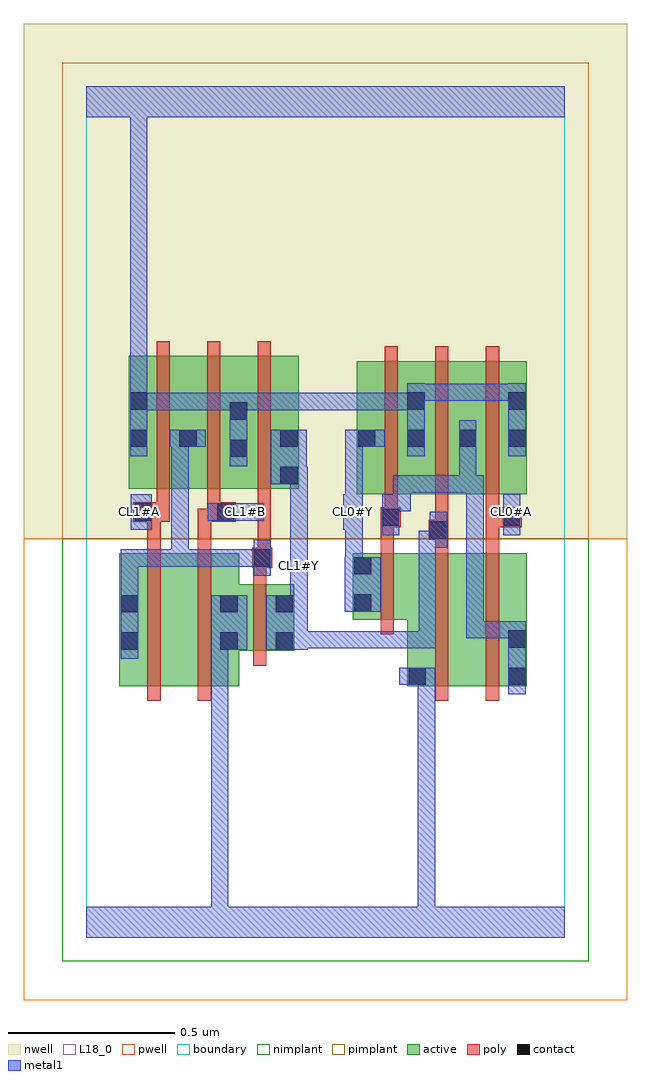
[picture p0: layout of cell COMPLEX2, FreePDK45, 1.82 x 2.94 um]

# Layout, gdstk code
import gdstk
lib = gdstk.Library(unit=1e-6, precision=1e-09)
def R(c, l, rs):  # rectangles x0, y0, x1, y1
    for r in rs: c.add(gdstk.rectangle(r[:2], r[2:], *l))
def A(c, l, x, y, w, h, nx, ny, dx, dy):  # array of equal rectangles
    R(c, l, [(x+i*dx, y+j*dy, x+i*dx+w, y+j*dy+h) for i in range(nx) for j in range(ny)])
active = (1, 0)
pwell = (2, 0)
nwell = (3, 0)
nimplant = (4, 0)
pimplant = (5, 0)
poly = (9, 0)
contact = (10, 0)
metal1 = (11, 0)
L18_0 = (18, 0)
boundary = (235, 0)

complex2 = lib.new_cell('COMPLEX2')
A(complex2, active, 0.276, 1.35, 0.06, 0.294, 3, 1, 0.152, 0)
R(complex2, active, [(0.1,0.756,0.16,1.156), (0.1,0.756,0.28,1.156), (0.28,0.756,0.46,1.156), (0.4,0.756,0.46,1.062), (0.966,0.756,1.146,1.156), (0.966,0.756,1.026,0.956), (1.146,0.756,1.326,1.156), (1.266,0.756,1.326,1.156), (0.4,0.862,0.626,1.062), (0.566,0.862,0.626,1.062), (0.802,0.956,0.862,1.156), (0.802,0.956,1.026,1.156), (0.814,1.334,0.874,1.644), (0.814,1.334,1.022,1.734), (0.962,1.334,1.022,1.644), (0.962,1.334,1.178,1.734), (1.118,1.334,1.178,1.644), (1.118,1.334,1.326,1.734), (1.266,1.334,1.326,1.644), (0.128,1.35,0.336,1.75), (0.128,1.35,0.188,1.644), (0.276,1.35,0.488,1.75), (0.428,1.35,0.64,1.75)])
R(complex2, pwell, [(-0.188,-0.188,1.628,1.2)])
R(complex2, nwell, [(-0.188,1.2,1.628,2.748)])
R(complex2, nimplant, [(-0.072,-0.072,1.512,1.2)])
R(complex2, pimplant, [(-0.072,1.2,1.512,2.632)])
A(complex2, poly, 0.898, 1.29, 0.04, 0.488, 3, 1, 0.152, 0)
A(complex2, poly, 0.212, 1.306, 0.04, 0.488, 3, 1, 0.152, 0)
R(complex2, poly, [(0.184,0.712,0.224,1.2), (0.336,0.712,0.376,1.2), (1.05,0.712,1.09,1.2), (1.202,0.712,1.242,1.2), (0.502,0.818,0.542,1.106), (0.886,0.912,0.926,1.2), (0.502,1.066,0.542,1.152), (0.5,1.112,0.56,1.172), (0.516,1.132,0.556,1.172), (0.516,1.132,0.556,1.172), (0.516,1.132,0.556,1.346), (0.184,1.16,0.224,1.29), (0.336,1.16,0.376,1.29), (0.886,1.16,0.926,1.274), (1.05,1.16,1.09,1.236), (1.202,1.16,1.242,1.274), (1.03,1.196,1.09,1.256), (1.05,1.216,1.09,1.256), (1.05,1.216,1.09,1.256), (1.05,1.216,1.09,1.33), (0.886,1.234,0.926,1.274), (0.886,1.234,0.926,1.274), (0.886,1.234,0.946,1.294), (1.202,1.234,1.242,1.274), (1.202,1.234,1.242,1.274), (1.202,1.234,1.31,1.294), (0.142,1.25,0.252,1.31), (0.184,1.25,0.224,1.29), (0.184,1.25,0.224,1.29), (0.336,1.25,0.404,1.29), (0.364,1.25,0.404,1.29), (0.364,1.25,0.45,1.31), (0.898,1.254,0.938,1.33), (1.202,1.254,1.242,1.33), (0.212,1.27,0.252,1.346), (0.364,1.27,0.404,1.346)])
R(complex2, contact, [(0.97,0.76,1.022,0.812), (1.27,0.76,1.322,0.812), (0.104,0.866,0.156,0.918), (0.404,0.866,0.456,0.918), (0.57,0.866,0.622,0.918), (1.27,0.872,1.322,0.924), (0.104,0.978,0.156,1.03), (0.404,0.978,0.456,1.03), (0.57,0.978,0.622,1.03), (0.806,0.98,0.858,1.032), (0.806,1.092,0.858,1.144), (0.504,1.116,0.556,1.168), (1.034,1.2,1.086,1.252), (0.89,1.238,0.942,1.29), (1.254,1.238,1.306,1.29), (0.146,1.254,0.198,1.306), (0.394,1.254,0.446,1.306), (0.584,1.364,0.636,1.416), (0.432,1.446,0.484,1.498), (0.132,1.476,0.184,1.528), (0.28,1.476,0.332,1.528), (0.584,1.476,0.636,1.528), (0.818,1.476,0.87,1.528), (0.966,1.476,1.018,1.528), (1.122,1.476,1.174,1.528), (1.27,1.476,1.322,1.528), (0.432,1.558,0.484,1.61), (0.132,1.588,0.184,1.64), (0.966,1.588,1.018,1.64), (1.27,1.588,1.322,1.64)])
R(complex2, metal1, [(0,0,1.44,0.092), (0.376,0.04,0.428,0.092), (0.376,0.04,0.428,0.092), (0.376,0.04,0.428,0.092), (0.376,0.04,0.428,0.092), (0.376,0.04,0.428,0.092), (0.376,0.04,0.428,0.092), (0.376,0.04,0.428,0.918), (0.998,0.04,1.05,0.092), (0.998,0.04,1.05,0.092), (0.998,0.04,1.05,0.092), (0.998,0.04,1.05,0.092), (0.998,0.04,1.05,0.092), (0.998,0.04,1.05,0.092), (0.998,0.04,1.05,0.812), (1.27,0.732,1.322,0.952), (0.942,0.76,1.05,0.812), (0.998,0.76,1.05,0.812), (0.998,0.76,1.05,0.812), (0.998,0.76,1.05,0.812), (0.998,0.76,1.05,0.812), (0.998,0.76,1.05,0.812), (0.998,0.76,1.05,0.812), (0.104,0.838,0.156,1.058), (0.376,0.866,0.428,0.918), (0.376,0.866,0.428,0.918), (0.376,0.866,0.428,0.918), (0.376,0.866,0.428,0.918), (0.376,0.866,0.428,0.918), (0.376,0.866,0.428,0.918), (0.376,0.866,0.484,1.03), (0.542,0.866,0.666,1.03), (0.614,0.866,0.666,0.922), (0.614,0.87,0.666,0.922), (0.614,0.87,0.776,0.922), (0.724,0.87,0.776,0.922), (0.724,0.87,0.776,0.922), (0.724,0.87,0.776,0.922), (0.724,0.87,1.052,0.922), (1,0.87,1.052,0.922), (1,0.87,1.052,0.922), (1,0.87,1.052,0.922), (1,0.87,1.052,1.224), (1.144,0.9,1.196,0.952), (1.144,0.9,1.322,0.952), (1.144,0.9,1.196,1.39), (1.27,0.9,1.322,0.952), (1.27,0.9,1.322,0.952), (1.27,0.9,1.322,0.952), (1.27,0.9,1.322,0.952), (0.614,0.978,0.666,1.118), (0.778,0.98,0.886,1.144), (0.104,1.006,0.156,1.168), (0.614,1.066,0.666,1.174), (0.504,1.088,0.556,1.196), (0.78,1.092,0.832,1.278), (0.104,1.116,0.156,1.168), (0.104,1.116,0.156,1.168), (0.104,1.116,0.156,1.168), (0.104,1.116,0.308,1.168), (0.256,1.116,0.308,1.168), (0.256,1.116,0.308,1.168), (0.256,1.116,0.308,1.168), (0.256,1.116,0.308,1.168), (0.256,1.116,0.308,1.168), (0.256,1.116,0.484,1.168), (0.256,1.116,0.308,1.528), (0.432,1.116,0.484,1.168), (0.432,1.116,0.556,1.168), (0.614,1.122,0.666,1.416), (1,1.172,1.052,1.224), (1,1.172,1.086,1.224), (1.034,1.172,1.086,1.28), (0.89,1.21,0.942,1.334), (1.254,1.21,1.306,1.334), (0.134,1.226,0.198,1.334), (0.774,1.226,0.832,1.334), (0.366,1.254,0.534,1.306), (0.78,1.282,0.832,1.528), (0.89,1.282,0.976,1.334), (0.924,1.282,0.976,1.39), (0.924,1.338,1.174,1.39), (1.122,1.338,1.174,1.39), (1.122,1.338,1.174,1.39), (1.122,1.338,1.174,1.5), (1.122,1.338,1.196,1.39), (0.556,1.364,0.664,1.528), (0.612,1.364,0.664,1.416), (0.612,1.364,0.666,1.416), (0.432,1.418,0.484,1.638), (0.132,1.448,0.184,1.668), (0.966,1.448,1.018,1.668), (1.122,1.448,1.174,1.556), (1.27,1.448,1.322,1.668), (0.252,1.476,0.36,1.528), (0.78,1.476,0.832,1.528), (0.78,1.476,0.832,1.528), (0.78,1.476,0.898,1.528), (0.132,1.586,0.184,1.638), (0.132,1.586,0.184,1.638), (0.132,1.586,0.308,1.638), (0.256,1.586,0.308,1.638), (0.256,1.586,0.308,1.638), (0.256,1.586,0.308,1.638), (0.256,1.586,0.484,1.638), (0.432,1.586,0.484,1.638), (0.432,1.586,0.484,1.638), (0.432,1.586,0.594,1.638), (0.542,1.586,0.594,1.638), (0.542,1.586,0.776,1.638), (0.724,1.586,0.776,1.638), (0.724,1.586,0.776,1.638), (0.724,1.586,0.776,1.638), (0.724,1.586,1.018,1.638), (0.966,1.614,1.196,1.666), (1.144,1.614,1.196,1.666), (1.144,1.614,1.196,1.666), (1.144,1.614,1.196,1.666), (1.144,1.614,1.322,1.666), (1.27,1.614,1.322,1.666), (1.27,1.614,1.322,1.666), (0.132,1.616,0.184,1.668), (0.132,1.616,0.184,1.668), (0.132,1.616,0.184,1.668), (0.132,1.616,0.184,1.668), (0.132,1.616,0.184,1.668), (0.132,1.616,0.184,1.668), (0.132,1.616,0.184,1.668), (0.132,1.616,0.184,1.668), (0.132,1.616,0.184,1.668), (0.132,1.616,0.184,1.668), (0.132,1.616,0.184,1.668), (0.132,1.616,0.184,1.668), (0.132,1.616,0.184,1.668), (0.132,1.616,0.184,1.668), (0.132,1.616,0.184,1.668), (0.132,1.616,0.184,1.668), (0.132,1.616,0.184,2.52), (0,2.468,1.44,2.56)])
A(complex2, L18_0, 0.134, 1.254, 0.052, 0.052, 3, 1, 0.32, 0)
R(complex2, L18_0, [(0,0,1.44,0.092), (0.376,0.04,0.428,0.092), (0.376,0.04,0.428,0.092), (0.376,0.04,0.428,0.092), (0.376,0.04,0.428,0.092), (0.376,0.04,0.428,0.092), (0.376,0.04,0.428,0.092), (0.376,0.04,0.428,0.918), (0.998,0.04,1.05,0.092), (0.998,0.04,1.05,0.092), (0.998,0.04,1.05,0.092), (0.998,0.04,1.05,0.092), (0.998,0.04,1.05,0.092), (0.998,0.04,1.05,0.092), (0.998,0.04,1.05,0.812), (0.942,0.76,1.05,0.812), (0.998,0.76,1.05,0.812), (0.998,0.76,1.05,0.812), (0.998,0.76,1.05,0.812), (0.998,0.76,1.05,0.812), (0.998,0.76,1.05,0.812), (0.998,0.76,1.05,0.812), (0.376,0.866,0.428,0.918), (0.376,0.866,0.428,0.918), (0.376,0.866,0.428,0.918), (0.376,0.866,0.428,0.918), (0.376,0.866,0.428,0.918), (0.376,0.866,0.428,0.918), (0.376,0.866,0.484,1.03), (0.542,0.866,0.666,1.03), (0.614,0.866,0.666,0.922), (0.614,0.87,0.666,0.922), (0.614,0.87,0.776,0.922), (0.724,0.87,0.776,0.922), (0.724,0.87,0.776,0.922), (0.724,0.87,0.776,0.922), (0.724,0.87,1.052,0.922), (1,0.87,1.052,0.922), (1,0.87,1.052,0.922), (1,0.87,1.052,0.922), (1,0.87,1.052,1.224), (0.614,0.978,0.666,1.118), (0.778,0.98,0.886,1.144), (0.614,1.066,0.666,1.174), (0.78,1.092,0.832,1.278), (0.614,1.094,0.666,1.146), (0.614,1.122,0.666,1.416), (1,1.172,1.052,1.224), (1,1.172,1.086,1.224), (1.034,1.172,1.086,1.28), (1.254,1.21,1.306,1.334), (0.134,1.226,0.198,1.334), (0.774,1.226,0.832,1.334), (0.366,1.254,0.534,1.306), (1.254,1.254,1.306,1.306), (0.78,1.282,0.832,1.528), (0.556,1.364,0.664,1.528), (0.612,1.364,0.664,1.416), (0.612,1.364,0.666,1.416), (0.432,1.418,0.484,1.638), (0.132,1.448,0.184,1.668), (0.966,1.448,1.018,1.668), (1.27,1.448,1.322,1.668), (0.78,1.476,0.832,1.528), (0.78,1.476,0.832,1.528), (0.78,1.476,0.898,1.528), (0.132,1.586,0.184,1.638), (0.132,1.586,0.184,1.638), (0.132,1.586,0.308,1.638), (0.256,1.586,0.308,1.638), (0.256,1.586,0.308,1.638), (0.256,1.586,0.308,1.638), (0.256,1.586,0.484,1.638), (0.432,1.586,0.484,1.638), (0.432,1.586,0.484,1.638), (0.432,1.586,0.594,1.638), (0.542,1.586,0.594,1.638), (0.542,1.586,0.776,1.638), (0.724,1.586,0.776,1.638), (0.724,1.586,0.776,1.638), (0.724,1.586,0.776,1.638), (0.724,1.586,1.018,1.638), (0.966,1.614,1.196,1.666), (1.144,1.614,1.196,1.666), (1.144,1.614,1.196,1.666), (1.144,1.614,1.196,1.666), (1.144,1.614,1.322,1.666), (1.27,1.614,1.322,1.666), (1.27,1.614,1.322,1.666), (0.132,1.616,0.184,1.668), (0.132,1.616,0.184,1.668), (0.132,1.616,0.184,1.668), (0.132,1.616,0.184,1.668), (0.132,1.616,0.184,1.668), (0.132,1.616,0.184,1.668), (0.132,1.616,0.184,1.668), (0.132,1.616,0.184,1.668), (0.132,1.616,0.184,1.668), (0.132,1.616,0.184,1.668), (0.132,1.616,0.184,1.668), (0.132,1.616,0.184,1.668), (0.132,1.616,0.184,1.668), (0.132,1.616,0.184,1.668), (0.132,1.616,0.184,1.668), (0.132,1.616,0.184,1.668), (0.132,1.616,0.184,2.52), (0,2.468,1.44,2.56)])
R(complex2, boundary, [(0,0,1.44,2.56)])
complex2.add(gdstk.Label('CL0#A', (1.28,1.28), layer=11, texttype=0))
complex2.add(gdstk.Label('CL0#Y', (0.8,1.28), layer=11, texttype=0))
complex2.add(gdstk.Label('CL1#A', (0.16,1.28), layer=11, texttype=0))
complex2.add(gdstk.Label('CL1#B', (0.48,1.28), layer=11, texttype=0))
complex2.add(gdstk.Label('CL1#Y', (0.64,1.12), layer=11, texttype=0))

lib.write_gds('COMPLEX2.gds')
